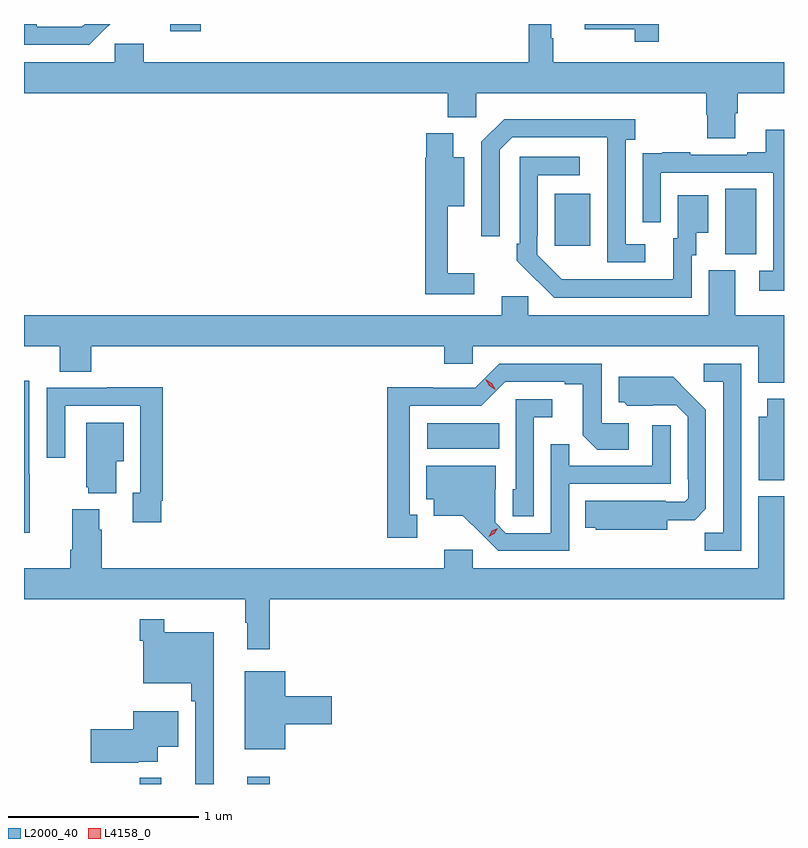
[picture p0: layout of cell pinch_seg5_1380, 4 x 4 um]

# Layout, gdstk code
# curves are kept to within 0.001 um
import gdstk
lib = gdstk.Library(unit=1e-6, precision=1e-09)
def R(c, l, rs):  # rectangles x0, y0, x1, y1
    for r in rs: c.add(gdstk.rectangle(r[:2], r[2:], *l))
def P(c, l, *ps):  # polygons
    for p in ps: c.add(gdstk.Polygon(p, *l))
L2000_40 = (2000, 40)
L4158_0 = (4158, 0)

pinch_seg5_1380 = lib.new_cell('pinch_seg5_1380')
R(pinch_seg5_1380, L2000_40, [(156.288,902.408,156.401,902.44), (156.854,902.408,156.971,902.446), (157.8,904.172,158.18,904.306), (159.368,905.197,159.532,905.54), (158.471,905.241,158.659,905.515), (156.449,906.369,156.607,906.408)])
P(pinch_seg5_1380, L2000_40, [(159.421,905.938),(159.434,905.938),(159.434,906.044),(159.678,906.044),(159.678,906.208),(158.464,906.208),(158.464,906.332),(158.452,906.332),(158.452,906.408),(158.335,906.408),(158.335,906.208),(156.308,906.208),(156.308,906.304),(156.156,906.304),(156.156,906.208),(155.678,906.208),(155.678,906.044),(157.907,906.044),(157.907,905.918),(158.058,905.918),(158.058,906.044),(159.269,906.044),(159.269,905.931),(159.274,905.931),(159.274,905.806),(159.421,905.806)],
  [(156.106,906.383),(156.131,906.408),(155.997,906.408),(155.982,906.393),(155.745,906.393),(155.745,906.408),(155.678,906.408),(155.678,906.3),(156.022,906.3)],
  [(159.02,906.408),(158.63,906.408),(158.63,906.38),(158.892,906.38),(158.892,906.315),(159.02,906.315)],
  [(158.947,905.25),(158.844,905.25),(158.844,905.798),(158.896,905.798),(158.896,905.908),(158.206,905.908),(158.085,905.787),(158.085,905.292),(158.181,905.292),(158.181,905.745),(158.247,905.811),(158.747,905.811),(158.748,905.154),(158.947,905.154)],
  [(159.678,905.851),(159.581,905.851),(159.581,905.734),(159.485,905.734),(159.485,905.721),(159.185,905.721),(159.185,905.734),(159.037,905.734),(159.037,905.727),(158.935,905.727),(158.935,905.618),(158.934,905.618),(158.934,905.364),(159.03,905.364),(159.03,905.625),(159.621,905.625),(159.621,905.109),(159.549,905.109),(159.549,905.004),(159.678,905.004)],
  [(158.047,905.095),(157.907,905.095),(157.907,905.45),(157.996,905.45),(157.996,905.707),(157.936,905.707),(157.936,905.833),(157.796,905.833),(157.796,905.703),(157.789,905.703),(157.789,904.986),(158.047,904.986)],
  [(159.192,905.19),(159.217,905.19),(159.217,905.309),(159.28,905.309),(159.28,905.506),(159.119,905.506),(159.119,905.28),(159.095,905.28),(159.095,905.064),(158.508,905.065),(158.379,905.193),(158.379,905.293),(158.382,905.293),(158.382,905.613),(158.602,905.613),(158.602,905.709),(158.286,905.709),(158.286,905.251),(158.271,905.251),(158.271,905.163),(158.468,904.968),(159.192,904.968)],
  [(159.678,904.876),(159.421,904.876),(159.421,905.112),(159.281,905.112),(159.281,904.876),(158.331,904.876),(158.331,904.974),(158.192,904.974),(158.192,904.876),(155.678,904.876),(155.678,904.712),(155.867,904.712),(155.867,904.579),(156.032,904.579),(156.032,904.712),(157.889,904.712),(157.889,904.619),(158.04,904.619),(158.04,904.712),(159.542,904.712),(159.542,904.52),(159.678,904.52)],
  [(157.747,903.825),(157.708,903.825),(157.708,904.398),(158.085,904.398),(158.211,904.524),(158.525,904.524),(158.525,904.512),(158.619,904.512),(158.619,904.244),(158.695,904.168),(158.86,904.168),(158.86,904.308),(158.718,904.308),(158.718,904.62),(158.178,904.62),(158.052,904.494),(157.83,904.494),(157.83,904.496),(157.59,904.496),(157.59,903.705),(157.747,903.705)],
  [(159.453,904.62),(159.255,904.62),(159.255,904.524),(159.357,904.524),(159.357,903.731),(159.262,903.731),(159.262,903.636),(159.453,903.636)],
  [(159.064,903.797),(159.208,903.797),(159.267,903.856),(159.267,904.378),(159.095,904.552),(158.807,904.552),(158.807,904.416),(158.838,904.416),(158.854,904.4),(159.111,904.401),(159.171,904.341),(159.171,904.012),(159.174,904.012),(159.174,903.912),(159.156,903.894),(159.056,903.894),(159.056,903.898),(158.632,903.898),(158.632,903.758),(158.688,903.758),(158.688,903.746),(159.064,903.746)],
  [(155.709,904.037),(155.706,904.037),(155.706,904.531),(155.678,904.531),(155.678,903.731),(155.709,903.731)],
  [(156.4,903.898),(156.407,903.898),(156.407,904.496),(156.115,904.496),(156.115,904.494),(155.799,904.494),(155.799,904.125),(155.895,904.125),(155.895,904.398),(156.291,904.398),(156.291,903.942),(156.251,903.942),(156.251,903.786),(156.4,903.786)],
  [(159.678,904.435),(159.59,904.435),(159.59,904.342),(159.545,904.342),(159.545,904.007),(159.678,904.007)],
  [(158.361,904.337),(158.458,904.337),(158.458,904.434),(158.265,904.434),(158.265,903.96),(158.25,903.96),(158.25,903.817),(158.361,903.817)],
  [(156.163,904.106),(156.202,904.106),(156.202,904.309),(156.005,904.309),(156.005,903.969),(156.017,903.969),(156.017,903.938),(156.163,903.938)],
  [(158.547,903.987),(159.081,903.987),(159.081,904.297),(158.985,904.297),(158.985,904.083),(158.549,904.083),(158.549,904.196),(158.451,904.196),(158.451,903.729),(158.214,903.729),(158.157,903.786),(158.157,903.96),(158.161,903.96),(158.161,904.084),(157.796,904.084),(157.796,903.908),(157.835,903.908),(157.835,903.821),(157.987,903.821),(158.174,903.636),(158.547,903.636)],
  [(156.971,903.38),(159.678,903.38),(159.678,903.922),(159.542,903.922),(159.542,903.544),(158.04,903.544),(158.04,903.64),(157.889,903.64),(157.889,903.544),(156.086,903.544),(156.086,903.746),(156.073,903.746),(156.073,903.853),(155.933,903.853),(155.933,903.64),(155.921,903.64),(155.921,903.544),(155.678,903.544),(155.678,903.38),(156.843,903.38),(156.843,903.257),(156.854,903.257),(156.854,903.117),(156.971,903.117)],
  [(156.676,903.208),(156.415,903.208),(156.415,903.274),(156.286,903.274),(156.286,903.161),(156.306,903.161),(156.306,902.939),(156.559,902.939),(156.559,902.843),(156.579,902.843),(156.579,902.408),(156.676,902.408)],
  [(157.054,902.723),(157.297,902.723),(157.297,902.87),(157.054,902.87),(157.054,903.001),(156.839,903.001),(156.839,902.591),(157.054,902.591)],
  [(156.278,902.525),(156.382,902.525),(156.382,902.603),(156.49,902.603),(156.49,902.791),(156.254,902.791),(156.254,902.696),(156.03,902.696),(156.03,902.52),(156.278,902.52)])
P(pinch_seg5_1380, L4158_0, [(158.124,903.71),(158.124,903.71),(158.141,903.74),(158.172,903.755),(158.172,903.755),(158.172,903.754),(158.154,903.725),(158.124,903.71)],
  [(158.158,904.484),(158.126,904.504),(158.109,904.536),(158.109,904.537),(158.109,904.537),(158.141,904.517),(158.158,904.485),(158.158,904.484)])

lib.write_gds('pinch_seg5_1380.gds')
